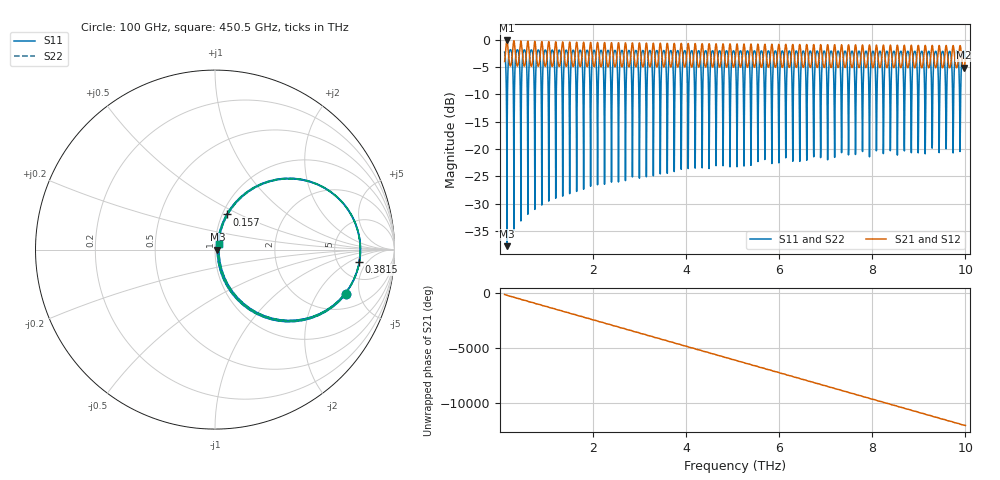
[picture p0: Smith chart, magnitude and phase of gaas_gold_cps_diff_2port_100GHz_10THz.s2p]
# Hz S RI R 100
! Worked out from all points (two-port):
!   10000 points, 100 GHz to 10 THz, reference 100 ohm
!   highest |S21| = -0.14 dB at 149.6 GHz (marker M1); lowest = -5.1 dB at 9.963 THz (marker M2)
!   |S21| within 3 dB of the highest: 111.4 GHz to 187.8 GHz (76.43 GHz wide, 51.1 % of centre); 261.6 GHz to 337.3 GHz (75.76 GHz wide, 25.3 % of centre)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
!   lowest |S11| = -37.8 dB at 149.8 GHz (marker M3), VSWR 1.03, Z = 103 - j0.153 ohm
!   |S11| at or under -10 dB: 5.679897 THz to 5.704333 THz (24.44 GHz wide, 0.429 % of centre); 6.428799 THz to 6.45329 THz (24.49 GHz wide, 0.38 % of centre); 7.327536 THz to 7.352132 THz (24.6 GHz wide, 0.335 % of centre)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
!   |S22| runs from -37.8 to -1.8 dB; largest |S21 - S12| = 4.4e-16
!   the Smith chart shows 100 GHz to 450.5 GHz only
!   S11 on the Smith chart (normalised r, x): 100 GHz: 3.06, -3.69; 157 GHz: 1.05, +0.43; 381.5 GHz: 8.07, -3.16; 450.5 GHz: 1.05, +0.06
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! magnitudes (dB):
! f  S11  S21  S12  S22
! 100 GHz  -2.3  -4.0  -4.0  -2.3
! 135.1 GHz  -8.2  -0.8  -0.8  -8.2
! 149.6 GHz  -37.2  -0.1  -0.1  -37.2
! 149.8 GHz  -37.8  -0.1  -0.1  -37.8
! 157 GHz  -13.7  -0.3  -0.3  -13.7
! 252.1 GHz  -2.4  -3.9  -3.9  -2.4
! 299.8 GHz  -34.3  -0.2  -0.2  -34.3
! 381.5 GHz  -1.9  -4.8  -4.8  -1.9
! 450.5 GHz  -28.3  -0.2  -0.2  -28.3
! 516.5 GHz  -1.9  -4.8  -4.8  -1.9
! 599.1 GHz  -31.9  -0.3  -0.3  -31.9
! 666.9 GHz  -1.9  -4.8  -4.8  -1.9
! 748.7 GHz  -30.7  -0.3  -0.3  -30.7
! 817.1 GHz  -1.9  -4.8  -4.8  -1.9
! 898.5 GHz  -30.0  -0.3  -0.3  -30.0
! 1.75 THz  -2.5  -4.0  -4.0  -2.5
! 3.401 THz  -2.8  -3.9  -3.9  -2.8
! 5.051 THz  -3.0  -3.8  -3.8  -3.0
! 6.702 THz  -3.3  -3.6  -3.6  -3.3
! 8.352 THz  -3.6  -3.4  -3.4  -3.6
! 9.963 THz  -2.1  -5.1  -5.1  -2.1
! 10 THz  -3.7  -3.5  -3.5  -3.7
